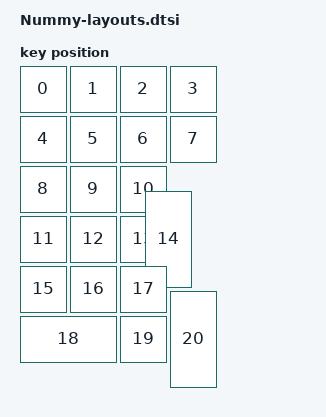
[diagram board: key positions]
#include <physical_layouts.dtsi>

/ {
    physical_layout0: physical_layout_0 {
        compatible = "zmk,physical-layout";
        display-name = "Default Layout";
        kscan = <&default_kscan>;
        transform = <&transform>;

        keys =
              //                    w    h    x     y     rot    rx    ry
              // Row 0
              <&key_physical_attrs 100  100   0     0       0     0     0>
            , <&key_physical_attrs 100  100  100    0       0     0     0>
            , <&key_physical_attrs 100  100  200    0       0     0     0>
            , <&key_physical_attrs 100  100  300    0       0     0     0>

              // Row 1
            , <&key_physical_attrs 100  100   0     100     0     0     0>
            , <&key_physical_attrs 100  100  100    100     0     0     0>
            , <&key_physical_attrs 100  100  200    100     0     0     0>
            , <&key_physical_attrs 100  100  300    100     0     0     0>

            // Row 2
            , <&key_physical_attrs 100  100   0     200     0     0     0>
            , <&key_physical_attrs 100  100  100    200     0     0     0>
            , <&key_physical_attrs 100  100  200    200     0     0     0>

            // Row 3
            , <&key_physical_attrs 100  100   0     300     0     0     0>
            , <&key_physical_attrs 100  100  100    300     0     0     0>
            , <&key_physical_attrs 100  100  200    300     0     0     0>
            , <&key_physical_attrs 100  200  250    250     0     0     0>
            
            // Row 4
            , <&key_physical_attrs 100  100   0     400     0     0     0>
            , <&key_physical_attrs 100  100  100    400     0     0     0>
            , <&key_physical_attrs 100  100  200    400     0     0     0>

            // Row 5
            , <&key_physical_attrs 200  100   0     500     0     0     0>
            , <&key_physical_attrs 100  100  200    500     0     0     0>
            , <&key_physical_attrs 100  200  300    450     0     0     0>
            ;
    };
};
